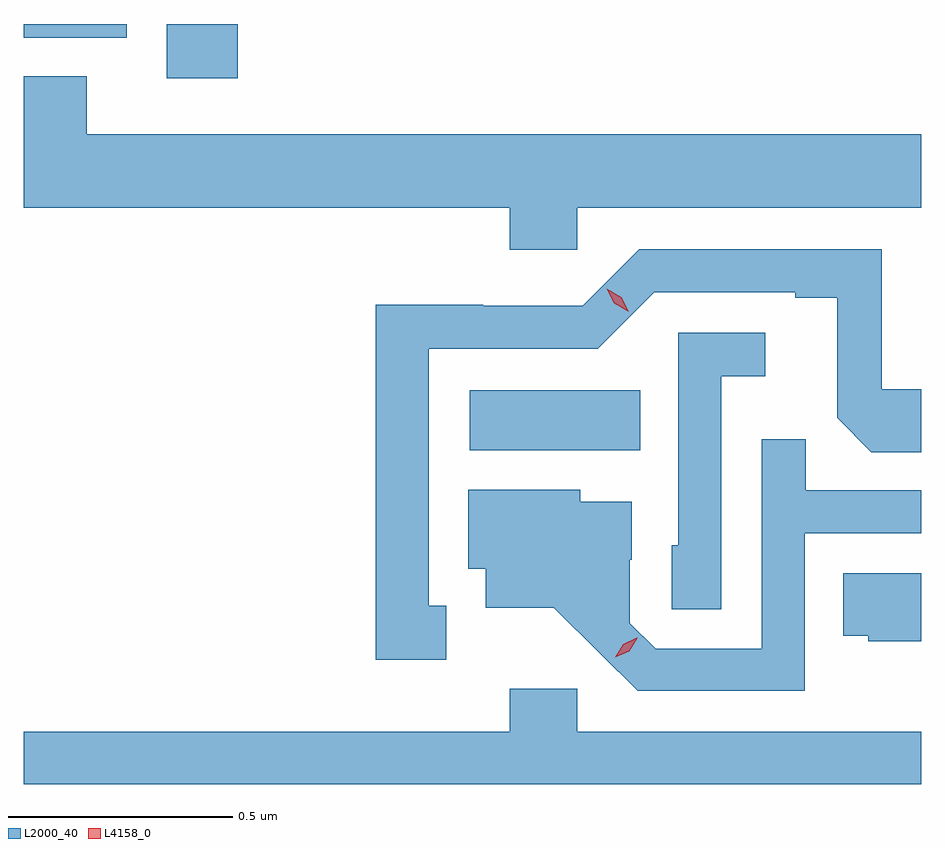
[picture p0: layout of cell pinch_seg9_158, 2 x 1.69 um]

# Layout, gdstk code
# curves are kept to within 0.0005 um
import gdstk
lib = gdstk.Library(unit=1e-6, precision=1e-09)
def R(c, l, rs):  # rectangles x0, y0, x1, y1
    for r in rs: c.add(gdstk.rectangle(r[:2], r[2:], *l))
def P(c, l, *ps):  # polygons
    for p in ps: c.add(gdstk.Polygon(p, *l))
L2000_40 = (2000, 40)
L4158_0 = (4158, 0)

pinch_seg9_158 = lib.new_cell('pinch_seg9_158')
R(pinch_seg9_158, L2000_40, [(700.146,1165.244,700.526,1165.378), (699.47,1166.073,699.629,1166.194), (699.152,1166.163,699.381,1166.194)])
P(pinch_seg9_158, L2000_40, [(700.386,1165.784),(701.152,1165.784),(701.152,1165.948),(699.292,1165.948),(699.292,1166.078),(699.152,1166.078),(699.152,1165.784),(700.235,1165.784),(700.235,1165.691),(700.386,1165.691)],
  [(700.093,1164.897),(700.054,1164.897),(700.054,1165.47),(700.431,1165.47),(700.557,1165.596),(700.871,1165.596),(700.871,1165.584),(700.965,1165.584),(700.965,1165.316),(701.041,1165.24),(701.152,1165.24),(701.152,1165.38),(701.064,1165.38),(701.064,1165.692),(700.524,1165.692),(700.398,1165.566),(700.176,1165.566),(700.176,1165.568),(699.936,1165.568),(699.936,1164.777),(700.093,1164.777)],
  [(700.707,1165.409),(700.804,1165.409),(700.804,1165.506),(700.611,1165.506),(700.611,1165.032),(700.596,1165.032),(700.596,1164.889),(700.707,1164.889)],
  [(700.893,1165.059),(701.152,1165.059),(701.152,1165.155),(700.895,1165.155),(700.895,1165.268),(700.797,1165.268),(700.797,1164.801),(700.56,1164.801),(700.503,1164.858),(700.503,1165),(700.507,1165),(700.507,1165.129),(700.392,1165.129),(700.392,1165.156),(700.142,1165.156),(700.142,1164.98),(700.181,1164.98),(700.181,1164.893),(700.333,1164.893),(700.52,1164.708),(700.893,1164.708)],
  [(701.152,1164.97),(700.978,1164.97),(700.978,1164.83),(701.034,1164.83),(701.034,1164.818),(701.152,1164.818)],
  [(701.152,1164.616),(700.386,1164.616),(700.386,1164.712),(700.235,1164.712),(700.235,1164.616),(699.152,1164.616),(699.152,1164.5),(701.152,1164.5)])
P(pinch_seg9_158, L4158_0, [(700.47,1164.782),(700.47,1164.782),(700.488,1164.811),(700.518,1164.826),(700.519,1164.826),(700.519,1164.825),(700.501,1164.796),(700.47,1164.782)],
  [(700.5,1165.553),(700.468,1165.572),(700.451,1165.604),(700.451,1165.604),(700.451,1165.604),(700.483,1165.585),(700.5,1165.553),(700.5,1165.553)])

lib.write_gds('pinch_seg9_158.gds')
